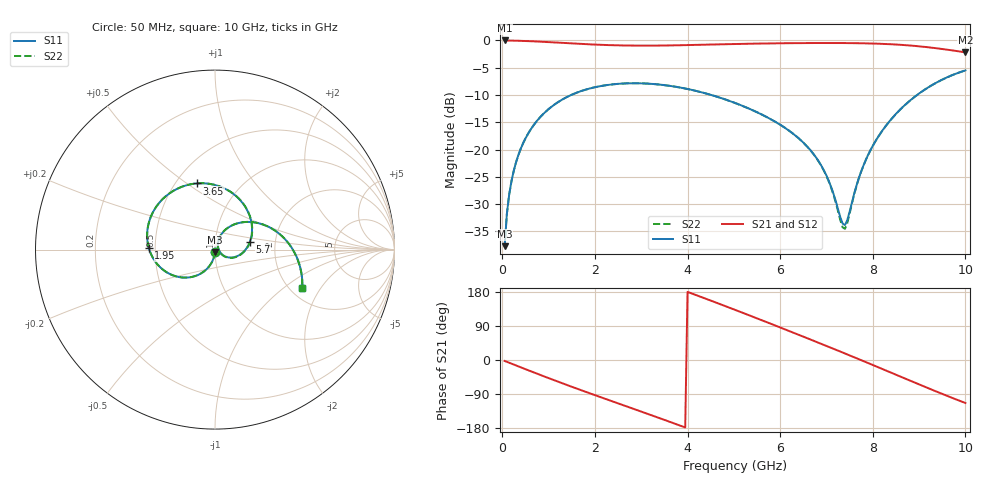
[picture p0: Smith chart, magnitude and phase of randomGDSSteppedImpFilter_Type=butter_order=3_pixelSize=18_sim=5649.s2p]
! freq	dB(S11)	phase(S11)	dB(S12)	phase(S12)
!  dB(S21)	phase(S21)	dB(S22)	phase(S22)
!S-par simulation data
#  GHz  S  DB  R 50
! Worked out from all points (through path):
!   200 points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, 50 MHz to 10 GHz, reference 50 ohm
!   highest |S21| = 0.00 dB at 50 MHz (marker M1); lowest = -2.2 dB at 10 GHz (marker M2)
!   group delay of S21, straight-line fit = 131 ps
!   lowest |S11| = -37.7 dB at 50 MHz (marker M3), VSWR 1.03, Z = 49.9 - j1.3 ohm
!   |S11| at or under -10 dB: start of sweep to 1.486 GHz; 4.516 GHz to 8.956 GHz (4.44 GHz wide, 65.9 % of centre)
!   |S22| runs from -37.7 to -5.5 dB; largest |S21 - S12| = 0
!   S11 on the Smith chart (normalised r, x): 50 MHz: 1.00, -0.03; 1.95 GHz: 0.46, +0.01; 3.65 GHz: 0.64, +0.55; 5.7 GHz: 1.48, +0.14; 10 GHz: 2.32, -1.38
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0.05  -37.69 -92.3  -0.00 -2.5  -0.00 -2.5  -37.69 -92.3
0.1  -31.68 -94.9  -0.01 -4.9  -0.01 -4.9  -31.68 -95.0
0.2  -25.70 -100.0  -0.03 -9.8  -0.03 -9.8  -25.70 -100.0
0.5  -17.96 -114.8  -0.10 -24.2  -0.10 -24.2  -17.97 -114.8
1.15  -11.61 -145.4  -0.38 -54.8  -0.38 -54.8  -11.60 -145.4
1.75  -9.14 -172.4  -0.66 -81.8  -0.66 -81.8  -9.14 -172.5
1.95  -8.67 178.8  -0.74 -90.6  -0.74 -90.6  -8.67 178.7
2.65  -7.88 148.5  -0.93 -121.0  -0.93 -121.0  -7.88 148.4
3.4  -8.09 116.0  -0.94 -153.6  -0.94 -153.6  -8.09 115.8
3.65  -8.36 105.1  -0.91 -164.6  -0.91 -164.6  -8.36 104.8
4.35  -9.60 73.9  -0.78 163.8  -0.78 163.8  -9.61 73.5
5.05  -11.53 42.2  -0.65 131.2  -0.65 131.2  -11.53 41.7
5.7  -13.99 12.8  -0.55 100.4  -0.55 100.4  -13.99 12.1
6.2  -16.58 -9.0  -0.50 76.3  -0.50 76.3  -16.58 -10.0
6.7  -20.58 -28.4  -0.47 51.9  -0.47 51.9  -20.61 -29.8
7  -24.76 -34.9  -0.47 37.1  -0.47 37.1  -24.85 -36.8
7.4  -33.81 21.6  -0.48 17.2  -0.48 17.2  -34.52 22.2
7.8  -22.88 69.3  -0.52 -2.9  -0.52 -2.9  -22.92 70.2
8.35  -14.92 52.0  -0.68 -31.0  -0.68 -31.0  -14.93 52.2
9.15  -8.86 15.6  -1.21 -72.0  -1.21 -72.0  -8.86 15.5
9.55  -6.97 -3.1  -1.62 -91.9  -1.62 -91.9  -6.98 -3.2
10  -5.49 -23.7  -2.18 -113.5  -2.18 -113.5  -5.49 -23.8
